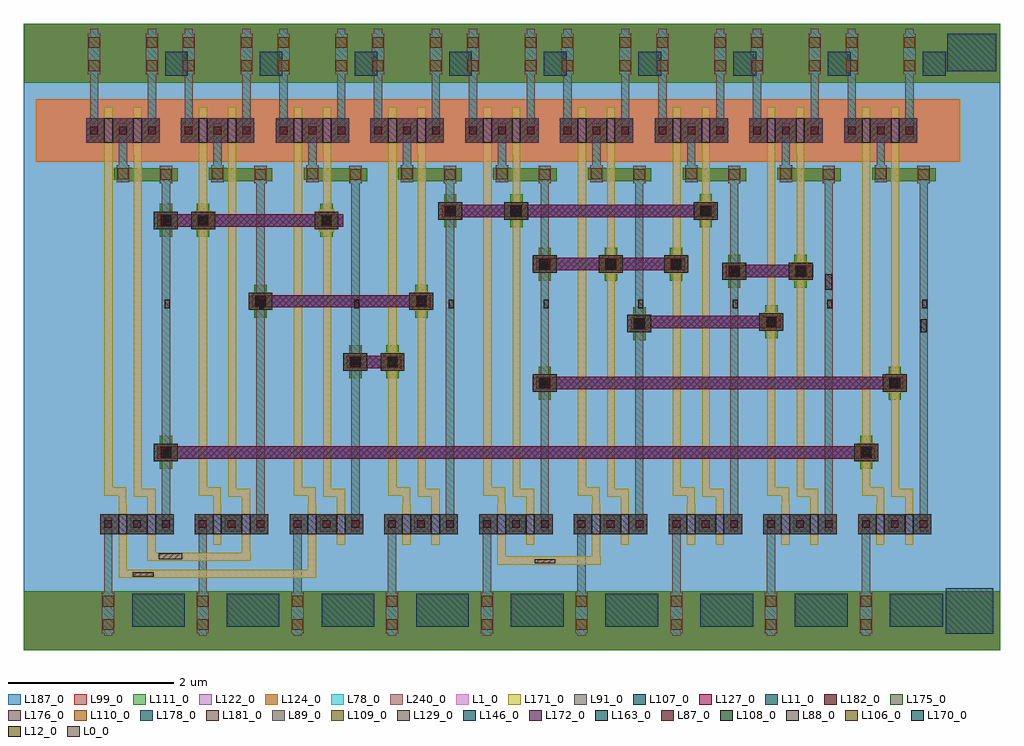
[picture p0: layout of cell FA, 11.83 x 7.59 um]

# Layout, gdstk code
import gdstk
lib = gdstk.Library(unit=1e-6, precision=1e-09)
def R(c, l, rs):  # rectangles x0, y0, x1, y1
    for r in rs: c.add(gdstk.rectangle(r[:2], r[2:], *l))
def A(c, l, x, y, w, h, nx, ny, dx, dy):  # array of equal rectangles
    R(c, l, [(x+i*dx, y+j*dy, x+i*dx+w, y+j*dy+h) for i in range(nx) for j in range(ny)])
def P(c, l, *ps):  # polygons
    for p in ps: c.add(gdstk.Polygon(p, *l))
L0_0 = (0, 0)
L1_0 = (1, 0)
L11_0 = (11, 0)
L12_0 = (12, 0)
L78_0 = (78, 0)
L87_0 = (87, 0)
L88_0 = (88, 0)
L89_0 = (89, 0)
L91_0 = (91, 0)
L99_0 = (99, 0)
L106_0 = (106, 0)
L107_0 = (107, 0)
L108_0 = (108, 0)
L109_0 = (109, 0)
L110_0 = (110, 0)
L111_0 = (111, 0)
L122_0 = (122, 0)
L124_0 = (124, 0)
L127_0 = (127, 0)
L129_0 = (129, 0)
L146_0 = (146, 0)
L163_0 = (163, 0)
L170_0 = (170, 0)
L171_0 = (171, 0)
L172_0 = (172, 0)
L175_0 = (175, 0)
L176_0 = (176, 0)
L178_0 = (178, 0)
L181_0 = (181, 0)
L182_0 = (182, 0)
L187_0 = (187, 0)
L240_0 = (240, 0)

nand2_2 = lib.new_cell('NAND2_2')
P(nand2_2, L1_0, [(-9.545,11.705),(-9.545,7.085),(-9.375,7.085),(-9.375,6.405),(-9.475,6.405),(-9.475,6.985),(-9.64,6.985),(-9.64,11.145),(-9.645,11.145),(-9.645,11.705)],
  [(-9.895,11.705),(-9.895,7.1),(-9.73,7.1),(-9.73,6.905),(-9.725,6.905),(-9.725,6.405),(-9.825,6.405),(-9.825,6.905),(-9.82,6.905),(-9.82,7),(-9.995,7),(-9.995,11.705)])
R(nand2_2, L11_0, [(-9.66,5.41,-9.02,5.81), (-9.26,12.09,-8.985,12.38)])
R(nand2_2, L12_0, [(-9.265,9.27,-9.205,9.375)])
R(nand2_2, L78_0, [(-9.68,6.565,-9.48,6.765)])
P(nand2_2, L78_0, [(-9.175,10.995),(-9.175,10.785),(-9.2,10.785),(-9.2,6.57),(-9.3,6.57),(-9.3,10.785),(-9.325,10.785),(-9.325,10.995)],
  [(-9.9,6.74),(-9.9,5.825),(-9.875,5.825),(-9.875,5.335),(-9.9,5.335),(-9.9,5.305),(-10,5.305),(-10,5.335),(-10.025,5.335),(-10.025,5.825),(-10,5.825),(-10,6.74)],
  [(-10.07,12.66),(-10.07,12.595),(-10.045,12.595),(-10.045,12.105),(-10.07,12.105),(-10.07,11.34),(-10.17,11.34),(-10.17,12.105),(-10.195,12.105),(-10.195,12.595),(-10.17,12.595),(-10.17,12.66)],
  [(-9.37,12.66),(-9.37,12.595),(-9.345,12.595),(-9.345,12.105),(-9.37,12.105),(-9.37,11.34),(-9.47,11.34),(-9.47,12.105),(-9.495,12.105),(-9.495,12.595),(-9.47,12.595),(-9.47,12.66)],
  [(-9.72,11.51),(-9.72,11.005),(-9.695,11.005),(-9.695,10.795),(-9.845,10.795),(-9.845,11.005),(-9.82,11.005),(-9.82,11.51)])
R(nand2_2, L99_0, [(-10.97,5.125,-8.33,5.845), (-10.965,12,-8.325,12.72)])
P(nand2_2, L99_0, [(-9.665,10.975),(-9.665,10.97),(-9.105,10.97),(-9.105,10.81),(-9.825,10.81),(-9.825,10.825),(-9.875,10.825),(-9.875,10.975)])
R(nand2_2, L110_0, [(-10.015,5.375,-9.885,5.505), (-10.015,5.655,-9.885,5.785), (-9.315,10.825,-9.185,10.955), (-9.835,10.835,-9.705,10.965), (-10.185,12.145,-10.055,12.275), (-9.485,12.145,-9.355,12.275), (-10.185,12.425,-10.055,12.555), (-9.485,12.425,-9.355,12.555)])
R(nand2_2, L111_0, [(-10.97,5.125,-8.33,5.845), (-10.965,12,-8.325,12.72)])
P(nand2_2, L111_0, [(-9.665,10.975),(-9.665,10.97),(-9.105,10.97),(-9.105,10.81),(-9.825,10.81),(-9.825,10.825),(-9.875,10.825),(-9.875,10.975)])
R(nand2_2, L122_0, [(-10.83,11.045,-8.805,11.805)])
R(nand2_2, L124_0, [(-10.83,11.045,-8.805,11.805)])
R(nand2_2, L146_0, [(-9.995,11.275,-9.895,11.575), (-9.645,11.275,-9.545,11.575)])
R(nand2_2, L163_0, [(-9.825,6.535,-9.725,6.775), (-9.475,6.535,-9.375,6.775)])
R(nand2_2, L171_0, [(-9.825,6.405,-9.725,6.535), (-9.475,6.405,-9.375,6.535), (-9.995,11.575,-9.895,11.705), (-9.645,11.575,-9.545,11.705)])
P(nand2_2, L171_0, [(-9.545,11.275),(-9.545,7.085),(-9.375,7.085),(-9.375,6.775),(-9.475,6.775),(-9.475,6.985),(-9.64,6.985),(-9.64,11.145),(-9.645,11.145),(-9.645,11.275)],
  [(-9.895,11.275),(-9.895,7.1),(-9.73,7.1),(-9.73,6.905),(-9.725,6.905),(-9.725,6.775),(-9.825,6.775),(-9.825,6.905),(-9.82,6.905),(-9.82,7),(-9.995,7),(-9.995,11.275)])
A(nand2_2, L172_0, -9.995, 6.61, 0.09, 0.09, 3, 1, 0.35, 0)
A(nand2_2, L172_0, -10.165, 11.38, 0.09, 0.09, 3, 1, 0.35, 0)
R(nand2_2, L175_0, [(-10.215,11.275,-9.995,11.575), (-9.895,11.275,-9.645,11.575), (-9.545,11.275,-9.325,11.575)])
R(nand2_2, L176_0, [(-10.215,11.275,-9.995,11.575), (-9.895,11.275,-9.645,11.575), (-9.545,11.275,-9.325,11.575)])
R(nand2_2, L178_0, [(-10.045,6.535,-9.825,6.775), (-9.725,6.535,-9.475,6.775), (-9.375,6.535,-9.155,6.775)])
R(nand2_2, L181_0, [(-10.045,6.535,-9.825,6.775), (-9.725,6.535,-9.475,6.775), (-9.375,6.535,-9.155,6.775)])
R(nand2_2, L182_0, [(-10.045,6.535,-9.825,6.775), (-9.725,6.535,-9.475,6.775), (-9.375,6.535,-9.155,6.775), (-10.215,11.275,-9.995,11.575), (-9.895,11.275,-9.645,11.575), (-9.545,11.275,-9.325,11.575)])
R(nand2_2, L187_0, [(-10.97,5.125,-8.325,12.72)])
R(nand2_2, L240_0, [(-9.68,6.565,-9.48,6.765)])
P(nand2_2, L240_0, [(-9.175,10.995),(-9.175,10.785),(-9.2,10.785),(-9.2,6.57),(-9.3,6.57),(-9.3,10.785),(-9.325,10.785),(-9.325,10.995)],
  [(-9.9,6.74),(-9.9,5.825),(-9.875,5.825),(-9.875,5.335),(-9.9,5.335),(-9.9,5.305),(-10,5.305),(-10,5.335),(-10.025,5.335),(-10.025,5.825),(-10,5.825),(-10,6.74)],
  [(-10.07,12.66),(-10.07,12.595),(-10.045,12.595),(-10.045,12.105),(-10.07,12.105),(-10.07,11.34),(-10.17,11.34),(-10.17,12.105),(-10.195,12.105),(-10.195,12.595),(-10.17,12.595),(-10.17,12.66)],
  [(-9.37,12.66),(-9.37,12.595),(-9.345,12.595),(-9.345,12.105),(-9.37,12.105),(-9.37,11.34),(-9.47,11.34),(-9.47,12.105),(-9.495,12.105),(-9.495,12.595),(-9.47,12.595),(-9.47,12.66)],
  [(-9.72,11.51),(-9.72,11.005),(-9.695,11.005),(-9.695,10.795),(-9.845,10.795),(-9.845,11.005),(-9.82,11.005),(-9.82,11.51)])

c_fa = lib.new_cell('FA')
R(c_fa, L0_0, [(-61.27,33.04,-61.015,33.09), (-56.4,33.2,-56.155,33.25), (-60.96,33.25,-60.675,33.325)])
R(c_fa, L1_0, [(-56.67,37.325,-56.575,37.575)])
P(c_fa, L1_0, [(-53.135,36.895),(-53.135,36.855),(-53.085,36.855),(-53.085,36.625),(-53.135,36.625),(-53.135,36.535),(-53.225,36.535),(-53.225,36.625),(-53.275,36.625),(-53.275,36.855),(-53.225,36.855),(-53.225,36.895)],
  [(-55.61,33.505),(-55.61,33.285),(-55.605,33.285),(-55.605,33.185),(-56.855,33.185),(-56.855,33.505),(-56.755,33.505),(-56.755,33.285),(-55.71,33.285),(-55.71,33.505)],
  [(-61.345,33.835),(-61.345,33.125),(-59.15,33.125),(-59.15,33.505),(-59.05,33.505),(-59.05,33.025),(-61.445,33.025),(-61.445,33.835)],
  [(-59.85,33.445),(-59.85,33.33),(-59.845,33.33),(-59.845,33.23),(-61.095,33.23),(-61.095,33.445),(-60.995,33.445),(-60.995,33.33),(-59.95,33.33),(-59.95,33.445)],
  [(-52.335,34.665),(-52.335,34.66),(-52.29,34.66),(-52.29,34.43),(-52.48,34.43),(-52.48,34.66),(-52.435,34.66),(-52.435,34.665)],
  [(-53.485,36.255),(-53.485,36.24),(-53.44,36.24),(-53.44,36.01),(-53.485,36.01),(-53.485,35.965),(-53.585,35.965),(-53.585,36.01),(-53.63,36.01),(-53.63,36.24),(-53.585,36.24),(-53.585,36.255)],
  [(-54.63,37.02),(-54.63,36.94),(-54.595,36.94),(-54.595,36.71),(-54.63,36.71),(-54.63,36.64),(-54.73,36.64),(-54.73,36.71),(-54.785,36.71),(-54.785,36.94),(-54.73,36.94),(-54.73,37.02)],
  [(-51.985,35.56),(-51.985,35.5),(-51.945,35.5),(-51.945,35.27),(-52.135,35.27),(-52.135,35.5),(-52.08,35.5),(-52.08,35.56)],
  [(-55.43,37),(-55.43,36.94),(-55.385,36.94),(-55.385,36.71),(-55.43,36.71),(-55.43,36.62),(-55.525,36.62),(-55.525,36.71),(-55.575,36.71),(-55.575,36.94),(-55.525,36.94),(-55.525,37)],
  [(-57.725,36.52),(-57.725,36.49),(-57.68,36.49),(-57.68,36.26),(-57.725,36.26),(-57.725,36.2),(-57.82,36.2),(-57.82,36.26),(-57.87,36.26),(-57.87,36.49),(-57.82,36.49),(-57.82,36.52)],
  [(-54.235,37.585),(-54.235,37.355),(-54.28,37.355),(-54.28,37.31),(-54.375,37.31),(-54.375,37.355),(-54.425,37.355),(-54.425,37.585)],
  [(-58.83,37.49),(-58.83,37.22),(-58.875,37.22),(-58.875,37.16),(-58.97,37.16),(-58.97,37.22),(-59.02,37.22),(-59.02,37.49)],
  [(-60.325,37.47),(-60.325,37.24),(-60.37,37.24),(-60.37,37.225),(-60.47,37.225),(-60.47,37.24),(-60.515,37.24),(-60.515,37.47)],
  [(-58.075,38.06),(-58.075,35.755),(-58.03,35.755),(-58.03,35.525),(-58.075,35.525),(-58.075,34.02),(-58.175,34.02),(-58.175,35.525),(-58.22,35.525),(-58.22,35.755),(-58.175,35.755),(-58.175,38.06)])
R(c_fa, L11_0, [(-51.425,32.35,-50.845,32.9), (-51.405,39.16,-50.81,39.615)])
R(c_fa, L12_0, [(-51.725,36,-51.65,36.155), (-52.88,36.515,-52.8,36.7)])
R(c_fa, L78_0, [(-52.89,34.005,-52.79,37.72), (-51.74,34.005,-51.64,37.72)])
P(c_fa, L78_0, [(-55.085,36.27),(-55.085,36.21),(-55.06,36.21),(-55.06,36),(-55.085,36),(-55.085,35.86),(-55.185,35.86),(-55.185,36),(-55.21,36),(-55.21,36.21),(-55.185,36.21),(-55.185,36.27)],
  [(-53.935,37.72),(-53.935,36.845),(-53.91,36.845),(-53.91,36.635),(-53.935,36.635),(-53.935,34.005),(-54.035,34.005),(-54.035,36.635),(-54.06,36.635),(-54.06,36.845),(-54.035,36.845),(-54.035,37.72)],
  [(-56.23,37.72),(-56.23,36.93),(-56.205,36.93),(-56.205,36.72),(-56.23,36.72),(-56.23,35.49),(-56.205,35.49),(-56.205,35.28),(-56.23,35.28),(-56.23,34.005),(-56.33,34.005),(-56.33,35.28),(-56.355,35.28),(-56.355,35.49),(-56.33,35.49),(-56.33,36.72),(-56.355,36.72),(-56.355,36.93),(-56.33,36.93),(-56.33,37.72)],
  [(-57.38,37.72),(-57.38,37.575),(-57.35,37.575),(-57.35,37.365),(-57.38,37.365),(-57.38,34.005),(-57.48,34.005),(-57.48,37.365),(-57.5,37.365),(-57.5,37.575),(-57.48,37.575),(-57.48,37.72)],
  [(-58.525,37.72),(-58.525,35.745),(-58.5,35.745),(-58.5,35.535),(-58.525,35.535),(-58.525,34.005),(-58.625,34.005),(-58.625,35.535),(-58.65,35.535),(-58.65,35.745),(-58.625,35.745),(-58.625,37.72)],
  [(-59.675,37.72),(-59.675,36.48),(-59.65,36.48),(-59.65,36.27),(-59.675,36.27),(-59.675,34.005),(-59.775,34.005),(-59.775,36.27),(-59.8,36.27),(-59.8,36.48),(-59.775,36.48),(-59.775,37.72)],
  [(-60.82,37.72),(-60.82,37.46),(-60.795,37.46),(-60.795,37.25),(-60.82,37.25),(-60.82,34.65),(-60.795,34.65),(-60.795,34.44),(-60.82,34.44),(-60.82,34.005),(-60.92,34.005),(-60.92,34.44),(-60.945,34.44),(-60.945,34.65),(-60.92,34.65),(-60.92,37.25),(-60.945,37.25),(-60.945,37.46),(-60.92,37.46),(-60.92,37.72)],
  [(-53.085,36.845),(-53.085,36.825),(-53.06,36.825),(-53.06,36.655),(-53.085,36.655),(-53.085,36.635),(-53.275,36.635),(-53.275,36.655),(-53.3,36.655),(-53.3,36.825),(-53.275,36.825),(-53.275,36.845)],
  [(-60.325,37.46),(-60.325,37.44),(-60.3,37.44),(-60.3,37.27),(-60.325,37.27),(-60.325,37.25),(-60.515,37.25),(-60.515,37.27),(-60.54,37.27),(-60.54,37.44),(-60.515,37.44),(-60.515,37.46)],
  [(-52.29,34.65),(-52.29,34.63),(-52.265,34.63),(-52.265,34.46),(-52.29,34.46),(-52.29,34.44),(-52.48,34.44),(-52.48,34.46),(-52.505,34.46),(-52.505,34.63),(-52.48,34.63),(-52.48,34.65)],
  [(-54.235,37.575),(-54.235,37.555),(-54.21,37.555),(-54.21,37.385),(-54.235,37.385),(-54.235,37.365),(-54.425,37.365),(-54.425,37.385),(-54.45,37.385),(-54.45,37.555),(-54.425,37.555),(-54.425,37.575)],
  [(-57.68,36.48),(-57.68,36.46),(-57.655,36.46),(-57.655,36.29),(-57.68,36.29),(-57.68,36.27),(-57.87,36.27),(-57.87,36.29),(-57.895,36.29),(-57.895,36.46),(-57.87,36.46),(-57.87,36.48)],
  [(-58.03,35.745),(-58.03,35.725),(-58.005,35.725),(-58.005,35.555),(-58.03,35.555),(-58.03,35.535),(-58.22,35.535),(-58.22,35.555),(-58.245,35.555),(-58.245,35.725),(-58.22,35.725),(-58.22,35.745)],
  [(-55.385,36.93),(-55.385,36.91),(-55.36,36.91),(-55.36,36.74),(-55.385,36.74),(-55.385,36.72),(-55.575,36.72),(-55.575,36.74),(-55.6,36.74),(-55.6,36.91),(-55.575,36.91),(-55.575,36.93)],
  [(-51.945,35.49),(-51.945,35.47),(-51.92,35.47),(-51.92,35.3),(-51.945,35.3),(-51.945,35.28),(-52.135,35.28),(-52.135,35.3),(-52.16,35.3),(-52.16,35.47),(-52.135,35.47),(-52.135,35.49)],
  [(-54.595,36.93),(-54.595,36.91),(-54.57,36.91),(-54.57,36.74),(-54.595,36.74),(-54.595,36.72),(-54.785,36.72),(-54.785,36.74),(-54.81,36.74),(-54.81,36.91),(-54.785,36.91),(-54.785,36.93)],
  [(-53.44,36.23),(-53.44,36.21),(-53.415,36.21),(-53.415,36.04),(-53.44,36.04),(-53.44,36.02),(-53.63,36.02),(-53.63,36.04),(-53.655,36.04),(-53.655,36.21),(-53.63,36.21),(-53.63,36.23)],
  [(-58.83,37.46),(-58.83,37.44),(-58.805,37.44),(-58.805,37.27),(-58.83,37.27),(-58.83,37.25),(-59.02,37.25),(-59.02,37.27),(-59.045,37.27),(-59.045,37.44),(-59.02,37.44),(-59.02,37.46)])
R(c_fa, L87_0, [(-60.935,34.48,-60.805,34.61), (-52.45,34.48,-52.32,34.61), (-56.345,35.32,-56.215,35.45), (-52.105,35.32,-51.975,35.45), (-58.64,35.575,-58.51,35.705), (-58.19,35.575,-58.06,35.705), (-55.2,36.04,-55.07,36.17), (-53.6,36.06,-53.47,36.19), (-59.79,36.31,-59.66,36.44), (-57.84,36.31,-57.71,36.44), (-54.05,36.675,-53.92,36.805), (-53.245,36.675,-53.115,36.805), (-56.345,36.76,-56.215,36.89), (-55.545,36.76,-55.415,36.89), (-54.755,36.76,-54.625,36.89), (-60.935,37.29,-60.805,37.42), (-60.485,37.29,-60.355,37.42), (-58.99,37.29,-58.86,37.42), (-57.49,37.405,-57.36,37.535), (-56.69,37.405,-56.56,37.535), (-54.395,37.405,-54.265,37.535)])
R(c_fa, L88_0, [(-60.935,34.48,-60.805,34.61), (-52.45,34.48,-52.32,34.61), (-56.345,35.32,-56.215,35.45), (-52.105,35.32,-51.975,35.45), (-58.64,35.575,-58.51,35.705), (-58.19,35.575,-58.06,35.705), (-55.2,36.04,-55.07,36.17), (-53.6,36.06,-53.47,36.19), (-59.79,36.31,-59.66,36.44), (-57.84,36.31,-57.71,36.44), (-54.05,36.675,-53.92,36.805), (-53.245,36.675,-53.115,36.805), (-56.345,36.76,-56.215,36.89), (-55.545,36.76,-55.415,36.89), (-54.755,36.76,-54.625,36.89), (-60.935,37.29,-60.805,37.42), (-60.485,37.29,-60.355,37.42), (-58.99,37.29,-58.86,37.42), (-57.49,37.405,-57.36,37.535), (-54.395,37.405,-54.265,37.535)])
R(c_fa, L89_0, [(-61.015,34.44,-60.725,34.65), (-52.53,34.44,-52.24,34.65), (-56.425,35.28,-56.135,35.49), (-52.185,35.28,-51.895,35.49), (-58.72,35.535,-58.43,35.745), (-58.27,35.535,-57.98,35.745), (-55.28,36,-54.99,36.21), (-53.68,36.02,-53.39,36.23), (-59.87,36.27,-59.58,36.48), (-57.92,36.27,-57.63,36.48), (-54.13,36.635,-53.84,36.845), (-53.325,36.635,-53.035,36.845), (-56.425,36.72,-56.135,36.93), (-55.625,36.72,-55.335,36.93), (-54.835,36.72,-54.545,36.93), (-61.015,37.25,-60.725,37.46), (-60.565,37.25,-60.275,37.46), (-59.07,37.25,-58.78,37.46), (-57.57,37.365,-57.28,37.575), (-56.77,37.365,-56.48,37.575), (-54.475,37.365,-54.185,37.575)])
R(c_fa, L91_0, [(-60.975,34.47,-52.28,34.62), (-56.385,35.31,-51.935,35.46), (-58.68,35.565,-58.02,35.715), (-59.83,36.3,-57.67,36.45), (-54.09,36.665,-53.03,36.815), (-56.385,36.75,-54.585,36.9), (-60.975,37.28,-58.72,37.43), (-57.53,37.395,-54.225,37.545)])
P(c_fa, L91_0, [(-53.43,36.2),(-53.43,36.05),(-55.03,36.05),(-55.03,36.03),(-55.24,36.03),(-55.24,36.18),(-55.185,36.18),(-55.185,36.2)])
R(c_fa, L99_0, [(-62.575,32.145,-50.765,32.86), (-60.945,34.345,-60.795,34.745), (-52.46,34.345,-52.31,34.745), (-56.355,35.185,-56.205,35.585), (-52.115,35.185,-51.965,35.585), (-58.65,35.44,-58.5,35.84), (-58.2,35.44,-58.05,35.84), (-55.21,35.905,-55.06,36.305), (-53.61,35.925,-53.46,36.325), (-59.8,36.175,-59.65,36.575), (-57.85,36.175,-57.7,36.575), (-54.06,36.54,-53.91,36.94), (-53.255,36.54,-53.105,36.94), (-56.355,36.625,-56.205,37.025), (-55.555,36.625,-55.405,37.025), (-54.765,36.625,-54.615,37.025), (-60.945,37.155,-60.795,37.555), (-60.495,37.155,-60.345,37.555), (-59,37.155,-58.85,37.555), (-57.5,37.27,-57.35,37.67), (-56.7,37.27,-56.55,37.67), (-54.405,37.27,-54.255,37.67), (-62.575,39.02,-50.765,39.735)])
R(c_fa, L106_0, [(-60.935,34.48,-60.805,34.61), (-52.45,34.48,-52.32,34.61), (-56.345,35.32,-56.215,35.45), (-52.105,35.32,-51.975,35.45), (-58.64,35.575,-58.51,35.705), (-58.19,35.575,-58.06,35.705), (-55.2,36.04,-55.07,36.17), (-53.6,36.06,-53.47,36.19), (-59.79,36.31,-59.66,36.44), (-57.84,36.31,-57.71,36.44), (-54.05,36.675,-53.92,36.805), (-53.245,36.675,-53.115,36.805), (-56.345,36.76,-56.215,36.89), (-55.545,36.76,-55.415,36.89), (-54.755,36.76,-54.625,36.89), (-60.935,37.29,-60.805,37.42), (-60.485,37.29,-60.355,37.42), (-58.99,37.29,-58.86,37.42), (-57.49,37.405,-57.36,37.535), (-54.395,37.405,-54.265,37.535)])
R(c_fa, L107_0, [(-60.975,34.47,-52.28,34.62), (-56.385,35.31,-51.935,35.46), (-58.68,35.565,-58.02,35.715), (-59.83,36.3,-57.67,36.45), (-54.09,36.665,-53.03,36.815), (-56.385,36.75,-54.585,36.9), (-60.975,37.28,-58.72,37.43), (-57.53,37.395,-54.225,37.545)])
P(c_fa, L107_0, [(-53.43,36.2),(-53.43,36.05),(-55.03,36.05),(-55.03,36.03),(-55.24,36.03),(-55.24,36.18),(-55.185,36.18),(-55.185,36.2)])
R(c_fa, L108_0, [(-60.935,34.48,-60.805,34.61), (-52.45,34.48,-52.32,34.61), (-56.345,35.32,-56.215,35.45), (-52.105,35.32,-51.975,35.45), (-58.64,35.575,-58.51,35.705), (-58.19,35.575,-58.06,35.705), (-55.2,36.04,-55.07,36.17), (-53.6,36.06,-53.47,36.19), (-59.79,36.31,-59.66,36.44), (-57.84,36.31,-57.71,36.44), (-54.05,36.675,-53.92,36.805), (-53.245,36.675,-53.115,36.805), (-56.345,36.76,-56.215,36.89), (-55.545,36.76,-55.415,36.89), (-54.755,36.76,-54.625,36.89), (-60.935,37.29,-60.805,37.42), (-60.485,37.29,-60.355,37.42), (-58.99,37.29,-58.86,37.42), (-57.49,37.405,-57.36,37.535), (-56.69,37.405,-56.56,37.535), (-54.395,37.405,-54.265,37.535)])
R(c_fa, L109_0, [(-61.015,34.44,-60.725,34.65), (-52.53,34.44,-52.24,34.65), (-56.425,35.28,-56.135,35.49), (-52.185,35.28,-51.895,35.49), (-58.72,35.535,-58.43,35.745), (-58.27,35.535,-57.98,35.745), (-55.28,36,-54.99,36.21), (-53.68,36.02,-53.39,36.23), (-59.87,36.27,-59.58,36.48), (-57.92,36.27,-57.63,36.48), (-54.13,36.635,-53.84,36.845), (-53.325,36.635,-53.035,36.845), (-56.425,36.72,-56.135,36.93), (-55.625,36.72,-55.335,36.93), (-54.835,36.72,-54.545,36.93), (-61.015,37.25,-60.725,37.46), (-60.565,37.25,-60.275,37.46), (-59.07,37.25,-58.78,37.46), (-57.57,37.365,-57.28,37.575), (-56.77,37.365,-56.48,37.575), (-54.475,37.365,-54.185,37.575)])
R(c_fa, L110_0, [(-60.935,34.48,-60.805,34.61), (-52.45,34.48,-52.32,34.61), (-56.345,35.32,-56.215,35.45), (-52.105,35.32,-51.975,35.45), (-58.64,35.575,-58.51,35.705), (-58.19,35.575,-58.06,35.705), (-55.2,36.04,-55.07,36.17), (-53.6,36.06,-53.47,36.19), (-59.79,36.31,-59.66,36.44), (-57.84,36.31,-57.71,36.44), (-54.05,36.675,-53.92,36.805), (-53.245,36.675,-53.115,36.805), (-56.345,36.76,-56.215,36.89), (-55.545,36.76,-55.415,36.89), (-54.755,36.76,-54.625,36.89), (-60.935,37.29,-60.805,37.42), (-60.485,37.29,-60.355,37.42), (-58.99,37.29,-58.86,37.42), (-57.49,37.405,-57.36,37.535), (-54.395,37.405,-54.265,37.535)])
R(c_fa, L111_0, [(-62.575,32.145,-50.765,32.86), (-60.945,34.345,-60.795,34.745), (-52.46,34.345,-52.31,34.745), (-56.355,35.185,-56.205,35.585), (-52.115,35.185,-51.965,35.585), (-58.65,35.44,-58.5,35.84), (-58.2,35.44,-58.05,35.84), (-55.21,35.905,-55.06,36.305), (-53.61,35.925,-53.46,36.325), (-59.8,36.175,-59.65,36.575), (-57.85,36.175,-57.7,36.575), (-54.06,36.54,-53.91,36.94), (-53.255,36.54,-53.105,36.94), (-56.355,36.625,-56.205,37.025), (-55.555,36.625,-55.405,37.025), (-54.765,36.625,-54.615,37.025), (-60.945,37.155,-60.795,37.555), (-60.495,37.155,-60.345,37.555), (-59,37.155,-58.85,37.555), (-57.5,37.27,-57.35,37.67), (-56.7,37.27,-56.55,37.67), (-54.405,37.27,-54.255,37.67), (-62.575,39.02,-50.765,39.735)])
R(c_fa, L127_0, [(-60.975,34.47,-52.28,34.62), (-56.385,35.31,-51.935,35.46), (-58.68,35.565,-58.02,35.715), (-59.83,36.3,-57.67,36.45), (-54.09,36.665,-53.03,36.815), (-56.385,36.75,-54.585,36.9), (-60.975,37.28,-58.72,37.43), (-57.53,37.395,-54.225,37.545)])
P(c_fa, L127_0, [(-53.43,36.2),(-53.43,36.05),(-55.03,36.05),(-55.03,36.03),(-55.24,36.03),(-55.24,36.18),(-55.185,36.18),(-55.185,36.2)])
R(c_fa, L129_0, [(-61.015,34.44,-60.725,34.65), (-52.53,34.44,-52.24,34.65), (-56.425,35.28,-56.135,35.49), (-52.185,35.28,-51.895,35.49), (-58.72,35.535,-58.43,35.745), (-58.27,35.535,-57.98,35.745), (-55.28,36,-54.99,36.21), (-53.68,36.02,-53.39,36.23), (-59.87,36.27,-59.58,36.48), (-57.92,36.27,-57.63,36.48), (-54.13,36.635,-53.84,36.845), (-53.325,36.635,-53.035,36.845), (-56.425,36.72,-56.135,36.93), (-55.625,36.72,-55.335,36.93), (-54.835,36.72,-54.545,36.93), (-61.015,37.25,-60.725,37.46), (-60.565,37.25,-60.275,37.46), (-59.07,37.25,-58.78,37.46), (-57.57,37.365,-57.28,37.575), (-56.77,37.365,-56.48,37.575), (-54.475,37.365,-54.185,37.575)])
R(c_fa, L170_0, [(-52.43,34.5,-52.34,34.59), (-52.085,35.34,-51.995,35.43), (-58.17,35.595,-58.08,35.685), (-53.58,36.08,-53.49,36.17), (-57.82,36.33,-57.73,36.42), (-53.225,36.695,-53.135,36.785), (-55.525,36.78,-55.435,36.87), (-54.735,36.78,-54.645,36.87), (-60.465,37.31,-60.375,37.4), (-58.97,37.31,-58.88,37.4), (-54.375,37.425,-54.285,37.515)])
R(c_fa, L171_0, [(-61.445,33.795,-61.345,33.835), (-56.67,37.325,-56.575,37.575)])
P(c_fa, L171_0, [(-53.135,36.895),(-53.135,36.855),(-53.085,36.855),(-53.085,36.625),(-53.135,36.625),(-53.135,36.535),(-53.225,36.535),(-53.225,36.625),(-53.275,36.625),(-53.275,36.855),(-53.225,36.855),(-53.225,36.895)],
  [(-55.61,33.505),(-55.61,33.285),(-55.605,33.285),(-55.605,33.185),(-56.855,33.185),(-56.855,33.505),(-56.755,33.505),(-56.755,33.285),(-55.71,33.285),(-55.71,33.505)],
  [(-61.345,33.555),(-61.345,33.125),(-59.15,33.125),(-59.15,33.505),(-59.05,33.505),(-59.05,33.025),(-61.445,33.025),(-61.445,33.555)],
  [(-59.85,33.445),(-59.85,33.33),(-59.845,33.33),(-59.845,33.23),(-61.095,33.23),(-61.095,33.445),(-60.995,33.445),(-60.995,33.33),(-59.95,33.33),(-59.95,33.445)],
  [(-52.335,34.665),(-52.335,34.66),(-52.29,34.66),(-52.29,34.43),(-52.48,34.43),(-52.48,34.66),(-52.435,34.66),(-52.435,34.665)],
  [(-53.485,36.255),(-53.485,36.24),(-53.44,36.24),(-53.44,36.01),(-53.485,36.01),(-53.485,35.965),(-53.585,35.965),(-53.585,36.01),(-53.63,36.01),(-53.63,36.24),(-53.585,36.24),(-53.585,36.255)],
  [(-54.63,37.02),(-54.63,36.94),(-54.595,36.94),(-54.595,36.71),(-54.63,36.71),(-54.63,36.64),(-54.73,36.64),(-54.73,36.71),(-54.785,36.71),(-54.785,36.94),(-54.73,36.94),(-54.73,37.02)],
  [(-51.985,35.56),(-51.985,35.5),(-51.945,35.5),(-51.945,35.27),(-52.135,35.27),(-52.135,35.5),(-52.08,35.5),(-52.08,35.56)],
  [(-55.43,37),(-55.43,36.94),(-55.385,36.94),(-55.385,36.71),(-55.43,36.71),(-55.43,36.62),(-55.525,36.62),(-55.525,36.71),(-55.575,36.71),(-55.575,36.94),(-55.525,36.94),(-55.525,37)],
  [(-57.725,36.52),(-57.725,36.49),(-57.68,36.49),(-57.68,36.26),(-57.725,36.26),(-57.725,36.2),(-57.82,36.2),(-57.82,36.26),(-57.87,36.26),(-57.87,36.49),(-57.82,36.49),(-57.82,36.52)],
  [(-54.235,37.585),(-54.235,37.355),(-54.28,37.355),(-54.28,37.31),(-54.375,37.31),(-54.375,37.355),(-54.425,37.355),(-54.425,37.585)],
  [(-58.83,37.49),(-58.83,37.22),(-58.875,37.22),(-58.875,37.16),(-58.97,37.16),(-58.97,37.22),(-59.02,37.22),(-59.02,37.49)],
  [(-60.325,37.47),(-60.325,37.24),(-60.37,37.24),(-60.37,37.225),(-60.47,37.225),(-60.47,37.24),(-60.515,37.24),(-60.515,37.47)],
  [(-58.075,38.06),(-58.075,35.755),(-58.03,35.755),(-58.03,35.525),(-58.075,35.525),(-58.075,34.02),(-58.175,34.02),(-58.175,35.525),(-58.22,35.525),(-58.22,35.755),(-58.175,35.755),(-58.175,38.06)])
R(c_fa, L187_0, [(-62.59,32.145,-50.765,39.74)])
R(c_fa, L240_0, [(-52.89,34.005,-52.79,37.72), (-51.74,34.005,-51.64,37.72)])
P(c_fa, L240_0, [(-55.085,36.27),(-55.085,36.21),(-55.06,36.21),(-55.06,36),(-55.085,36),(-55.085,35.86),(-55.185,35.86),(-55.185,36),(-55.21,36),(-55.21,36.21),(-55.185,36.21),(-55.185,36.27)],
  [(-53.935,37.72),(-53.935,36.845),(-53.91,36.845),(-53.91,36.635),(-53.935,36.635),(-53.935,34.005),(-54.035,34.005),(-54.035,36.635),(-54.06,36.635),(-54.06,36.845),(-54.035,36.845),(-54.035,37.72)],
  [(-56.23,37.72),(-56.23,36.93),(-56.205,36.93),(-56.205,36.72),(-56.23,36.72),(-56.23,35.49),(-56.205,35.49),(-56.205,35.28),(-56.23,35.28),(-56.23,34.005),(-56.33,34.005),(-56.33,35.28),(-56.355,35.28),(-56.355,35.49),(-56.33,35.49),(-56.33,36.72),(-56.355,36.72),(-56.355,36.93),(-56.33,36.93),(-56.33,37.72)],
  [(-57.38,37.72),(-57.38,37.575),(-57.35,37.575),(-57.35,37.365),(-57.38,37.365),(-57.38,34.005),(-57.48,34.005),(-57.48,37.365),(-57.5,37.365),(-57.5,37.575),(-57.48,37.575),(-57.48,37.72)],
  [(-58.525,37.72),(-58.525,35.745),(-58.5,35.745),(-58.5,35.535),(-58.525,35.535),(-58.525,34.005),(-58.625,34.005),(-58.625,35.535),(-58.65,35.535),(-58.65,35.745),(-58.625,35.745),(-58.625,37.72)],
  [(-59.675,37.72),(-59.675,36.48),(-59.65,36.48),(-59.65,36.27),(-59.675,36.27),(-59.675,34.005),(-59.775,34.005),(-59.775,36.27),(-59.8,36.27),(-59.8,36.48),(-59.775,36.48),(-59.775,37.72)],
  [(-60.82,37.72),(-60.82,37.46),(-60.795,37.46),(-60.795,37.25),(-60.82,37.25),(-60.82,34.65),(-60.795,34.65),(-60.795,34.44),(-60.82,34.44),(-60.82,34.005),(-60.92,34.005),(-60.92,34.44),(-60.945,34.44),(-60.945,34.65),(-60.92,34.65),(-60.92,37.25),(-60.945,37.25),(-60.945,37.46),(-60.92,37.46),(-60.92,37.72)],
  [(-53.085,36.845),(-53.085,36.825),(-53.06,36.825),(-53.06,36.655),(-53.085,36.655),(-53.085,36.635),(-53.275,36.635),(-53.275,36.655),(-53.3,36.655),(-53.3,36.825),(-53.275,36.825),(-53.275,36.845)],
  [(-60.325,37.46),(-60.325,37.44),(-60.3,37.44),(-60.3,37.27),(-60.325,37.27),(-60.325,37.25),(-60.515,37.25),(-60.515,37.27),(-60.54,37.27),(-60.54,37.44),(-60.515,37.44),(-60.515,37.46)],
  [(-52.29,34.65),(-52.29,34.63),(-52.265,34.63),(-52.265,34.46),(-52.29,34.46),(-52.29,34.44),(-52.48,34.44),(-52.48,34.46),(-52.505,34.46),(-52.505,34.63),(-52.48,34.63),(-52.48,34.65)],
  [(-54.235,37.575),(-54.235,37.555),(-54.21,37.555),(-54.21,37.385),(-54.235,37.385),(-54.235,37.365),(-54.425,37.365),(-54.425,37.385),(-54.45,37.385),(-54.45,37.555),(-54.425,37.555),(-54.425,37.575)],
  [(-57.68,36.48),(-57.68,36.46),(-57.655,36.46),(-57.655,36.29),(-57.68,36.29),(-57.68,36.27),(-57.87,36.27),(-57.87,36.29),(-57.895,36.29),(-57.895,36.46),(-57.87,36.46),(-57.87,36.48)],
  [(-58.03,35.745),(-58.03,35.725),(-58.005,35.725),(-58.005,35.555),(-58.03,35.555),(-58.03,35.535),(-58.22,35.535),(-58.22,35.555),(-58.245,35.555),(-58.245,35.725),(-58.22,35.725),(-58.22,35.745)],
  [(-55.385,36.93),(-55.385,36.91),(-55.36,36.91),(-55.36,36.74),(-55.385,36.74),(-55.385,36.72),(-55.575,36.72),(-55.575,36.74),(-55.6,36.74),(-55.6,36.91),(-55.575,36.91),(-55.575,36.93)],
  [(-51.945,35.49),(-51.945,35.47),(-51.92,35.47),(-51.92,35.3),(-51.945,35.3),(-51.945,35.28),(-52.135,35.28),(-52.135,35.3),(-52.16,35.3),(-52.16,35.47),(-52.135,35.47),(-52.135,35.49)],
  [(-54.595,36.93),(-54.595,36.91),(-54.57,36.91),(-54.57,36.74),(-54.595,36.74),(-54.595,36.72),(-54.785,36.72),(-54.785,36.74),(-54.81,36.74),(-54.81,36.91),(-54.785,36.91),(-54.785,36.93)],
  [(-53.44,36.23),(-53.44,36.21),(-53.415,36.21),(-53.415,36.04),(-53.44,36.04),(-53.44,36.02),(-53.63,36.02),(-53.63,36.04),(-53.655,36.04),(-53.655,36.21),(-53.63,36.21),(-53.63,36.23)],
  [(-58.83,37.46),(-58.83,37.44),(-58.805,37.44),(-58.805,37.27),(-58.83,37.27),(-58.83,37.25),(-59.02,37.25),(-59.02,37.27),(-59.045,37.27),(-59.045,37.44),(-59.02,37.44),(-59.02,37.46)])
c_fa.add(gdstk.Reference(nand2_2, (-42.44,27.02)))
c_fa.add(gdstk.Reference(nand2_2, (-49.325,27.02)))
c_fa.add(gdstk.Reference(nand2_2, (-50.475,27.02)))
c_fa.add(gdstk.Reference(nand2_2, (-47.03,27.02)))
c_fa.add(gdstk.Reference(nand2_2, (-45.885,27.02)))
c_fa.add(gdstk.Reference(nand2_2, (-43.59,27.02)))
c_fa.add(gdstk.Reference(nand2_2, (-44.735,27.02)))
c_fa.add(gdstk.Reference(nand2_2, (-48.18,27.02)))
c_fa.add(gdstk.Reference(nand2_2, (-51.62,27.02)))

lib.write_gds('FA.gds')
